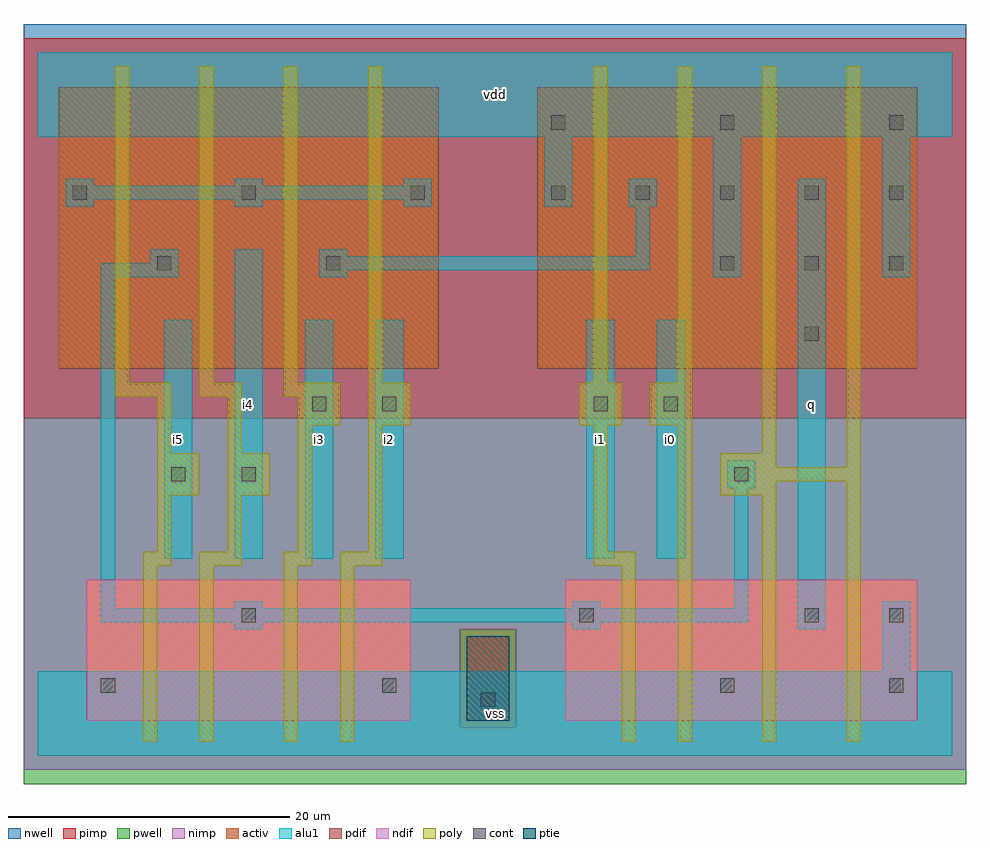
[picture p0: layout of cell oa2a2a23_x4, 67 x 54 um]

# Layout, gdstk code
import gdstk
lib = gdstk.Library(unit=1e-6, precision=1e-09)
def R(c, l, rs):  # rectangles x0, y0, x1, y1
    for r in rs: c.add(gdstk.rectangle(r[:2], r[2:], *l))
def A(c, l, x, y, w, h, nx, ny, dx, dy):  # array of equal rectangles
    R(c, l, [(x+i*dx, y+j*dy, x+i*dx+w, y+j*dy+h) for i in range(nx) for j in range(ny)])
ndif = (3, 0)
pdif = (4, 0)
ptie = (6, 0)
cont = (25, 0)
pwell = (41, 0)
nwell = (42, 0)
activ = (43, 0)
pimp = (44, 0)
nimp = (45, 0)
poly = (46, 0)
alu1 = (49, 0)

oa2a2a23_x4 = lib.new_cell('oa2a2a23_x4')
R(oa2a2a23_x4, ndif, [(3.5,2.5,26.5,12.5), (37.5,2.5,62.5,12.5)])
R(oa2a2a23_x4, pdif, [(1.5,27.5,28.5,47.5), (35.5,27.5,62.5,47.5)])
R(oa2a2a23_x4, ptie, [(30.5,2.5,33.5,8.5)])
A(oa2a2a23_x4, cont, 48.5, 34.5, 1, 1, 3, 1, 6, 0)
A(oa2a2a23_x4, cont, 2.5, 39.5, 1, 1, 3, 1, 12, 0)
A(oa2a2a23_x4, cont, 36.5, 39.5, 1, 1, 5, 1, 6, 0)
A(oa2a2a23_x4, cont, 36.5, 44.5, 1, 1, 3, 1, 12, 0)
R(oa2a2a23_x4, cont, [(31.5,3.5,32.5,4.5), (4.5,4.5,5.5,5.5), (24.5,4.5,25.5,5.5), (48.5,4.5,49.5,5.5), (60.5,4.5,61.5,5.5), (14.5,9.5,15.5,10.5), (38.5,9.5,39.5,10.5), (54.5,9.5,55.5,10.5), (60.5,9.5,61.5,10.5), (9.5,19.5,10.5,20.5), (14.5,19.5,15.5,20.5), (49.5,19.5,50.5,20.5), (19.5,24.5,20.5,25.5), (24.5,24.5,25.5,25.5), (39.5,24.5,40.5,25.5), (44.5,24.5,45.5,25.5), (54.5,29.5,55.5,30.5), (8.5,34.5,9.5,35.5), (20.5,34.5,21.5,35.5)])
R(oa2a2a23_x4, pwell, [(-1,-2,66,24)])
R(oa2a2a23_x4, nwell, [(-1,24,66,52)])
R(oa2a2a23_x4, activ, [(3.5,2.5,26.5,12.5), (30.5,2.5,33.5,8.5), (37.5,2.5,62.5,12.5), (1.5,27.5,28.5,47.5), (35.5,27.5,62.5,47.5)])
R(oa2a2a23_x4, pimp, [(30,2,34,9), (-1,24,66,51)])
R(oa2a2a23_x4, nimp, [(-1,-1,66,2), (-1,2,30,9), (34,2,66,9), (-1,9,66,24)])
A(oa2a2a23_x4, poly, 5.5, 26.5, 1, 22.5, 4, 1, 6, 0)
R(oa2a2a23_x4, poly, [(7.5,1,8.5,13.5), (11.5,1,12.5,13.5), (17.5,1,18.5,13.5), (21.5,1,22.5,13.5), (41.5,1,42.5,13.5), (45.5,1,46.5,23.5), (51.5,1,52.5,18.5), (57.5,1,58.5,19.5), (7.5,13.5,9.5,14.5), (11.5,13.5,14.5,14.5), (17.5,13.5,19.5,14.5), (21.5,13.5,24.5,14.5), (39.5,13.5,42.5,14.5), (8.5,14.5,9.5,18.5), (13.5,14.5,14.5,18.5), (18.5,14.5,19.5,23.5), (23.5,14.5,24.5,23.5), (39.5,14.5,40.5,23.5), (8.5,18.5,11.5,21.5), (13.5,18.5,16.5,21.5), (48.5,18.5,52.5,19.5), (48.5,19.5,58.5,20.5), (48.5,20.5,52.5,21.5), (57.5,20.5,58.5,49), (8.5,21.5,9.5,25.5), (13.5,21.5,14.5,25.5), (51.5,21.5,52.5,49), (18.5,23.5,21.5,25.5), (23.5,23.5,26.5,26.5), (38.5,23.5,41.5,26.5), (43.5,23.5,46.5,26.5), (5.5,25.5,9.5,26.5), (11.5,25.5,14.5,26.5), (17.5,25.5,21.5,26.5), (39.5,26.5,40.5,49), (45.5,26.5,46.5,49)])
A(oa2a2a23_x4, alu1, 2, 39, 2, 0.5, 3, 2, 12, 1.5)
R(oa2a2a23_x4, alu1, [(0,0,65,6), (60,6,62,11), (14,9,16,9.5), (38,9,40,9.5), (54,9,56,41), (4.5,9.5,50.5,10.5), (4.5,10.5,5.5,34), (14,10.5,16,11), (38,10.5,40,11), (49.5,10.5,50.5,19), (9,14,11,31), (14,14,16,36), (19,14,21,31), (24,14,26,31), (39,14,41,31), (44,14,46,31), (49,19,51,21), (4.5,34,10,35), (20,34,22,34.5), (48,34,50,44), (60,34,62,44), (20,34.5,43.5,35.5), (8,35,10,36), (20,35.5,22,36), (42.5,35.5,43.5,39), (36,39,38,44), (42,39,44,41), (2,39.5,28,40.5), (0,44,65,50)])
oa2a2a23_x4.add(gdstk.Label('i5', (10,22.5), layer=49, texttype=0))
oa2a2a23_x4.add(gdstk.Label('i3', (20,22.5), layer=49, texttype=0))
oa2a2a23_x4.add(gdstk.Label('i4', (15,25), layer=49, texttype=0))
oa2a2a23_x4.add(gdstk.Label('vss', (32.5,3), layer=49, texttype=0))
oa2a2a23_x4.add(gdstk.Label('i2', (25,22.5), layer=49, texttype=0))
oa2a2a23_x4.add(gdstk.Label('vdd', (32.5,47), layer=49, texttype=0))
oa2a2a23_x4.add(gdstk.Label('i0', (45,22.5), layer=49, texttype=0))
oa2a2a23_x4.add(gdstk.Label('i1', (40,22.5), layer=49, texttype=0))
oa2a2a23_x4.add(gdstk.Label('q', (55,25), layer=49, texttype=0))

lib.write_gds('oa2a2a23_x4.gds')
